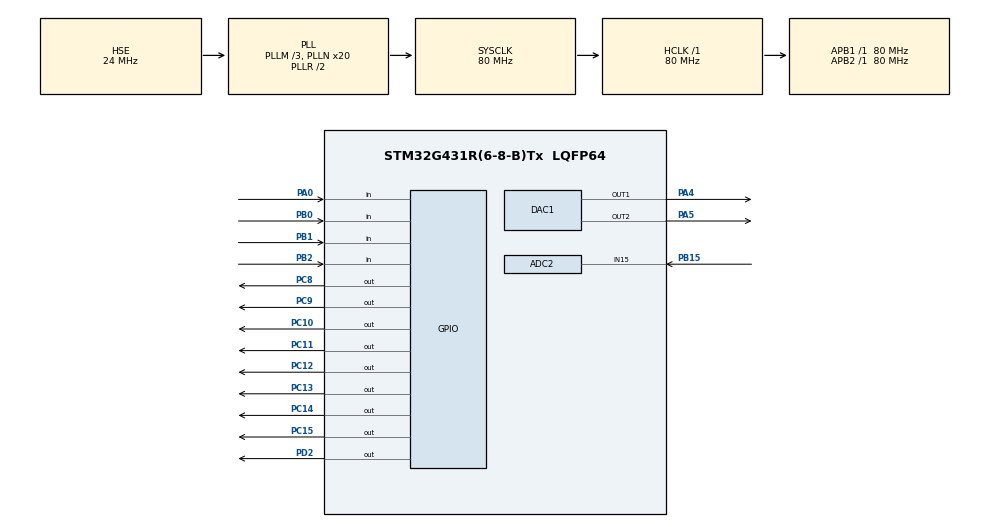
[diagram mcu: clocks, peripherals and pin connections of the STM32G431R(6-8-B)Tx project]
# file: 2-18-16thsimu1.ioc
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ADC2.Channel-0\#ChannelRegularConversion=ADC_CHANNEL_15
ADC2.NbrOfConversionFlag=1
ADC2.OffsetNumber-0\#ChannelRegularConversion=ADC_OFFSET_NONE
ADC2.Rank-0\#ChannelRegularConversion=1
ADC2.SamplingTime-0\#ChannelRegularConversion=ADC_SAMPLETIME_2CYCLES_5
DAC1.DAC_Channel-DAC_OUT2=DAC_CHANNEL_2
Mcu.Family=STM32G4
Mcu.Name=STM32G431R(6-8-B)Tx
Mcu.Package=LQFP64
NVIC.ADC1_2_IRQn=true\:2\:0\:true\:false\:true\:true\:true\:true
NVIC.PriorityGroup=NVIC_PRIORITYGROUP_4
NVIC.TIM7_IRQn=true\:1\:0\:true\:false\:true\:true\:true\:true
PA0.GPIO_Mode=GPIO_MODE_INPUT
PA0.GPIO_PuPd=GPIO_PULLUP
PA0.Signal=GPIO_Input
PA13.Mode=Serial_Wire
PA13.Signal=SYS_JTMS-SWDIO
PA14.Mode=Serial_Wire
PA14.Signal=SYS_JTCK-SWCLK
PA4.Signal=COMP_DAC11_group
PA5.Signal=COMP_DAC12_group
PB0.GPIO_Mode=GPIO_MODE_INPUT
PB0.GPIO_PuPd=GPIO_PULLUP
PB0.Signal=GPIO_Input
PB1.GPIO_Mode=GPIO_MODE_INPUT
PB1.GPIO_PuPd=GPIO_PULLUP
PB1.Signal=GPIO_Input
PB15.Mode=IN15-Single-Ended
PB15.Signal=ADC2_IN15
PB2.GPIO_Mode=GPIO_MODE_INPUT
PB2.GPIO_PuPd=GPIO_PULLUP
PB2.Signal=GPIO_Input
PC10.PinState=GPIO_PIN_SET
PC10.Signal=GPIO_Output
PC11.PinState=GPIO_PIN_SET
PC11.Signal=GPIO_Output
PC12.PinState=GPIO_PIN_SET
PC12.Signal=GPIO_Output
PC13.PinState=GPIO_PIN_SET
PC13.Signal=GPIO_Output
PC14-OSC32_IN.PinState=GPIO_PIN_SET
PC14-OSC32_IN.Signal=GPIO_Output
PC15-OSC32_OUT.PinState=GPIO_PIN_SET
PC15-OSC32_OUT.Signal=GPIO_Output
PC8.PinState=GPIO_PIN_SET
PC8.Signal=GPIO_Output
PC9.PinState=GPIO_PIN_SET
PC9.Signal=GPIO_Output
PD2.PinState=GPIO_PIN_SET
PD2.Signal=GPIO_Output
PF0-OSC_IN.Mode=HSE-External-Oscillator
PF0-OSC_IN.Signal=RCC_OSC_IN
PF1-OSC_OUT.Mode=HSE-External-Oscillator
PF1-OSC_OUT.Signal=RCC_OSC_OUT
ProjectManager.HeapSize=0x200
ProjectManager.StackSize=0x400
ProjectManager.TargetToolchain=MDK-ARM V5.32
RCC.ADC12Freq_Value=80000000
RCC.AHBFreq_Value=80000000
RCC.APB1Freq_Value=80000000
RCC.APB1TimFreq_Value=80000000
RCC.APB2Freq_Value=80000000
RCC.APB2TimFreq_Value=80000000
RCC.CortexFreq_Value=80000000
RCC.EXTERNAL_CLOCK_VALUE=12288000
RCC.HCLKFreq_Value=80000000
RCC.HSE_VALUE=24000000
RCC.HSI48_VALUE=48000000
RCC.HSI_VALUE=16000000
RCC.LSE_VALUE=32768
RCC.PLLM=RCC_PLLM_DIV3
RCC.PLLN=20
RCC.PLLSourceVirtual=RCC_PLLSOURCE_HSE
RCC.SYSCLKFreq_VALUE=80000000
RCC.SYSCLKSource=RCC_SYSCLKSOURCE_PLLCLK
RCC.USBFreq_Value=80000000
RCC.VCOOutputFreq_Value=160000000
SH.COMP_DAC11_group.0=DAC1_OUT1,DAC_OUT1
SH.COMP_DAC12_group.0=DAC1_OUT2,DAC_OUT2
TIM7.PeriodNoDither=1000-1
TIM7.Prescaler=80-1
VP_SYS_VS_DBSignals.Mode=DisableDeadBatterySignals
VP_TIM7_VS_ClockSourceINT.Mode=Enable_Timer
board=custom

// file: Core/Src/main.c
/* USER CODE BEGIN Header */
/**
  ******************************************************************************
  * @file           : main.c
  * @brief          : Main program body
  ******************************************************************************
  * @attention
  *
  * Copyright (c) 2025 STMicroelectronics.
  * All rights reserved.
  *
  * This software is licensed under terms that can be found in the LICENSE file
  * in the root directory of this software component.
  * If no LICENSE file comes with this software, it is provided AS-IS.
  *
  ******************************************************************************
  */
/* USER CODE END Header */
#include "main.h"
#include "adc.h"
#include "dac.h"
#include "tim.h"
#include "gpio.h"

/* USER CODE BEGIN Includes */
#include "headfile.h"

/* USER CODE END Includes */

void SystemClock_Config(void);

int main(void)
{

  /* MCU Configuration--------------------------------------------------------*/

  /* Reset of all peripherals, Initializes the Flash interface and the Systick. */
  HAL_Init();

  /* Configure the system clock */
  SystemClock_Config();

  /* Initialize all configured peripherals */
  MX_GPIO_Init();
  MX_TIM7_Init();
  MX_ADC2_Init();
  MX_DAC1_Init();
  /* USER CODE BEGIN 2 */
	HAL_GPIO_WritePin(GPIOD, GPIO_PIN_2, GPIO_PIN_RESET);
	led_show(1,0);
	led_show(2,0);
	led_show(3,0);
	led_show(4,0);
	led_show(5,0);
	led_show(6,0);
	led_show(7,0);
	led_show(8,0);

	led_show(1,1);

	HAL_TIM_Base_Start_IT(&htim7);

	LCD_Init();
	LCD_Clear(Black);
	LCD_SetTextColor(White);
	LCD_SetBackColor(Black);

	HAL_DAC_SetValue(&hdac1,DAC_CHANNEL_1,DAC_ALIGN_12B_R,(uint32_t)(1.1*4096/3.3));
	HAL_DAC_Start(&hdac1,DAC_CHANNEL_1);
  /* USER CODE END 2 */

  /* Infinite loop */
  while (1)
  {

  }
}

void SystemClock_Config(void)
{
  RCC_OscInitTypeDef RCC_OscInitStruct = {0};
  RCC_ClkInitTypeDef RCC_ClkInitStruct = {0};

  /** Configure the main internal regulator output voltage
  */
  HAL_PWREx_ControlVoltageScaling(PWR_REGULATOR_VOLTAGE_SCALE1);

  /** Initializes the RCC Oscillators according to the specified parameters
  * in the RCC_OscInitTypeDef structure.
  */
  RCC_OscInitStruct.OscillatorType = RCC_OSCILLATORTYPE_HSE;
  RCC_OscInitStruct.HSEState = RCC_HSE_ON;
  RCC_OscInitStruct.PLL.PLLState = RCC_PLL_ON;
  RCC_OscInitStruct.PLL.PLLSource = RCC_PLLSOURCE_HSE;
  RCC_OscInitStruct.PLL.PLLM = RCC_PLLM_DIV3;
  RCC_OscInitStruct.PLL.PLLN = 20;
  RCC_OscInitStruct.PLL.PLLP = RCC_PLLP_DIV2;
  RCC_OscInitStruct.PLL.PLLQ = RCC_PLLQ_DIV2;
  RCC_OscInitStruct.PLL.PLLR = RCC_PLLR_DIV2;
  if (HAL_RCC_OscConfig(&RCC_OscInitStruct) != HAL_OK)
  {
    Error_Handler();
  }

  /** Initializes the CPU, AHB and APB buses clocks
  */
  RCC_ClkInitStruct.ClockType = RCC_CLOCKTYPE_HCLK|RCC_CLOCKTYPE_SYSCLK
                              |RCC_CLOCKTYPE_PCLK1|RCC_CLOCKTYPE_PCLK2;
  RCC_ClkInitStruct.SYSCLKSource = RCC_SYSCLKSOURCE_PLLCLK;
  RCC_ClkInitStruct.AHBCLKDivider = RCC_SYSCLK_DIV1;
  RCC_ClkInitStruct.APB1CLKDivider = RCC_HCLK_DIV1;
  RCC_ClkInitStruct.APB2CLKDivider = RCC_HCLK_DIV1;

  if (HAL_RCC_ClockConfig(&RCC_ClkInitStruct, FLASH_LATENCY_2) != HAL_OK)
  {
    Error_Handler();
  }
}

void Error_Handler(void)
{
  __disable_irq();
  while (1)
  {
  }
}
